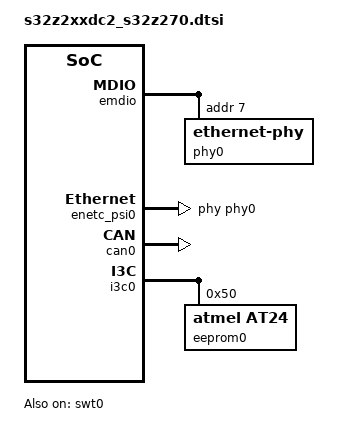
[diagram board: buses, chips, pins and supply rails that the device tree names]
/*
 * Copyright 2022-2024 NXP
 *
 * SPDX-License-Identifier: Apache-2.0
 */

#include "s32z2xxdc2_s32z270_pinctrl.dtsi"

&swt0 {
	status = "okay";
};

&emdio {
	pinctrl-0 = <&emdio_default>;
	pinctrl-names = "default";
	status = "okay";

	phy0: ethernet-phy@7 {
		compatible = "ethernet-phy";
		reg = <0x7>;
		status = "okay";
	};
};

&enetc_psi0 {
	local-mac-address = [00 00 00 01 02 00];
	pinctrl-0 = <&eth0_default>;
	pinctrl-names = "default";
	clock-frequency = <300000000>;
	phy-handle = <&phy0>;
	status = "okay";
};

&can0 {
	pinctrl-0 = <&can0_default>;
	pinctrl-names = "default";
	status = "okay";
};

&can1 {
	pinctrl-0 = <&can1_default>;
	pinctrl-names = "default";
};

&i3c0 {
	pinctrl-0 = <&i3c0_default>;
	pinctrl-names = "default";
	i2c-scl-hz = <400000>;
	i3c-od-scl-hz = <2500000>;
	i3c-scl-hz = <12500000>;
	status = "okay";

	eeprom0: eeprom@500000000000000010 {
		compatible = "atmel,at24";
		reg = <0x50 0x00 0x00000010>;
		status = "okay";
		size = <128>;
		pagesize = <8>;
		address-width = <8>;
		timeout = <5>;
	};
};
